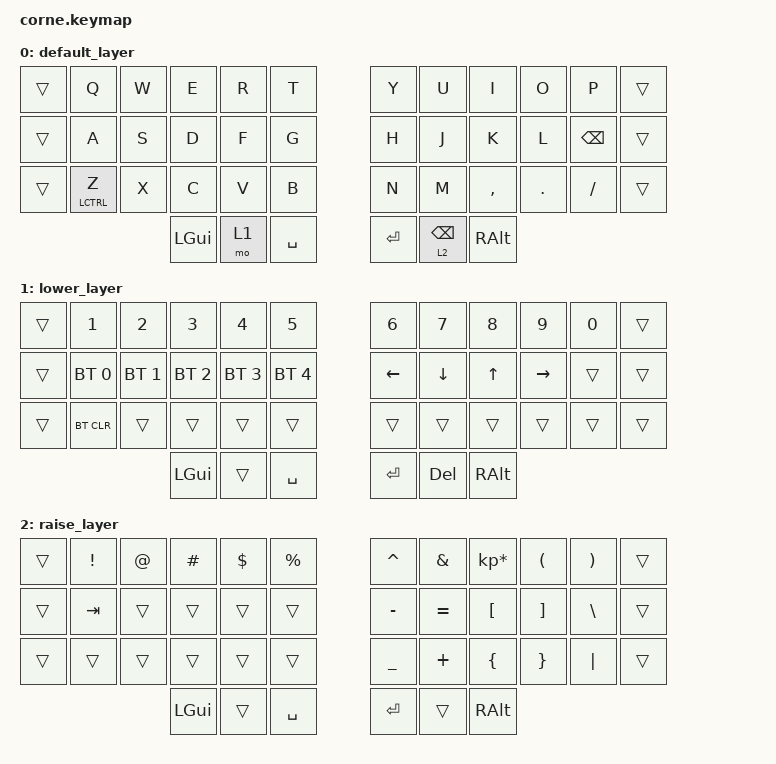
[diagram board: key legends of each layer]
/*
 * Copyright (c) 2020 The ZMK Contributors
 *
 * SPDX-License-Identifier: MIT
 */

#include <behaviors.dtsi>
#include <dt-bindings/zmk/keys.h>
#include <dt-bindings/zmk/bt.h>

/ {

  behaviors {
    ht: hold_tap {
      compatible = "zmk,behavior-hold-tap";
      flavor = "balanced";
      tapping-term-ms = <300>;
      label = "HOLD_TAP";
      #binding-cells = <2>;
      bindings = <&kp>, <&kp>;
    };
    hm: homerow_mods {
      compatible = "zmk,behavior-hold-tap";
      label = "HOMEROW_MODS";
      #binding-cells = <2>;
      tapping-term-ms = <250>;
      flavor = "tap-preferred";
      bindings = <&kp>, <&kp>;
    };
  };

        keymap {
                compatible = "zmk,keymap";

                default_layer {
// -----------------------------------------------------------------------------------------
// |  TAB |  Q  |  W  |  E  |  R  |  T  |   |  Y  |  U   |  I  |  O  |  P  | BKSP |
// | CTRL |  A  |  S  |  D  |  F  |  G  |   |  H  |  J   |  K  |  L  |  BKSP  |  '   |
// | SHFT |  Z  |  X  |  C  |  V  |  B  |   |  N  |  M   |  ,  |  .  |  /  | ESC  |
//                    | GUI | LWR | SPC |   | ENT |RSE/BKSP| ALT |
//                        bindings = <
//   &kp TAB   &kp Q &kp W &kp E &kp R &kp T   &kp Y &kp U  &kp I     &kp O   &kp P    &kp BSPC
//   &kp LCTRL &kp A &kp S &kp D &kp F &kp G   &kp H &kp J  &kp K     &kp L   &kp SEMI &kp SQT
//   &kp LSHFT &kp Z &kp X &kp C &kp V &kp B   &kp N &kp M  &kp COMMA &kp DOT &kp FSLH &kp ESC
//                  &kp LGUI &mo 1 &kp SPACE   &kp RET &mo 2 &kp RALT
//                        >;
                         bindings = <
   &trans   &kp Q &kp W &kp E &kp R &kp T   &kp Y &kp U  &kp I     &kp O   &kp P    &trans
   &trans &kp A &kp S &kp D &kp F &kp G   &kp H &kp J  &kp K     &kp L   &kp BSPC &trans
   &trans &lt LCTRL Z &kp X &kp C &kp V &kp B   &kp N &kp M  &kp COMMA &kp DOT &kp FSLH &trans
                  &kp LGUI &mo 1 &kp SPACE   &kp RET &lt 2 BSPC &kp RALT
                        >;
                };
                lower_layer {
// -----------------------------------------------------------------------------------------
// |  TAB |  1  |  2  |  3  |  4  |  5  |   |  6  |  7  |  8  |  9  |  0  | BKSP |
// | BTCLR| BT1 | BT2 | BT3 | BT4 | BT5 |   | LFT | DWN |  UP | RGT |     |      |
// | SHFT |     |     |     |     |     |   |     |     |     |     |     |      |
//                    | GUI |     | SPC |   | ENT | DEL | ALT |
                        bindings = <
   &trans    &kp N1    &kp N2    &kp N3    &kp N4    &kp N5      &kp N6   &kp N7   &kp N8 &kp N9    &kp N0             &trans
   &trans &bt BT_SEL 0 &bt BT_SEL 1 &bt BT_SEL 2 &bt BT_SEL 3 &bt BT_SEL 4   &kp LEFT &kp DOWN &kp UP &kp RIGHT &trans &trans
   &trans  &bt BT_CLR  &trans       &trans      &trans      &trans        &trans   &trans   &trans &trans    &trans   &trans
                                    &kp LGUI     &trans       &kp SPACE      &kp RET  &kp DEL   &kp RALT
                        >;
                };

                raise_layer {
// -----------------------------------------------------------------------------------------
// |  TAB |  !  |  @  |  #  |  $  |  %  |   |  ^  |  &  |  *  |  (  |  )  | BKSP |
// | CTRL |     |     |     |     |     |   |  -  |  =  |  [  |  ]  |  \  |  `   |
// | SHFT |     |     |     |     |     |   |  _  |  +  |  {  |  }  | "|" |  ~   |
//                    | GUI |     | SPC |   | ENT |     | ALT |
                        bindings = <
   &trans &kp EXCL &kp AT &kp HASH &kp DLLR &kp PRCNT   &kp CARET &kp AMPS  &kp KP_MULTIPLY &kp LPAR &kp RPAR &trans
   &trans &kp TAB   &trans &trans   &trans   &trans      &kp MINUS &kp EQUAL &kp LBKT        &kp RBKT &kp BSLH &trans
   &trans &trans   &trans &trans   &trans   &trans      &kp UNDER &kp PLUS  &kp LBRC        &kp RBRC &kp PIPE &trans
                             &kp LGUI &trans   &kp SPACE   &kp RET   &trans    &kp RALT
                        >;
                };
        };
};
